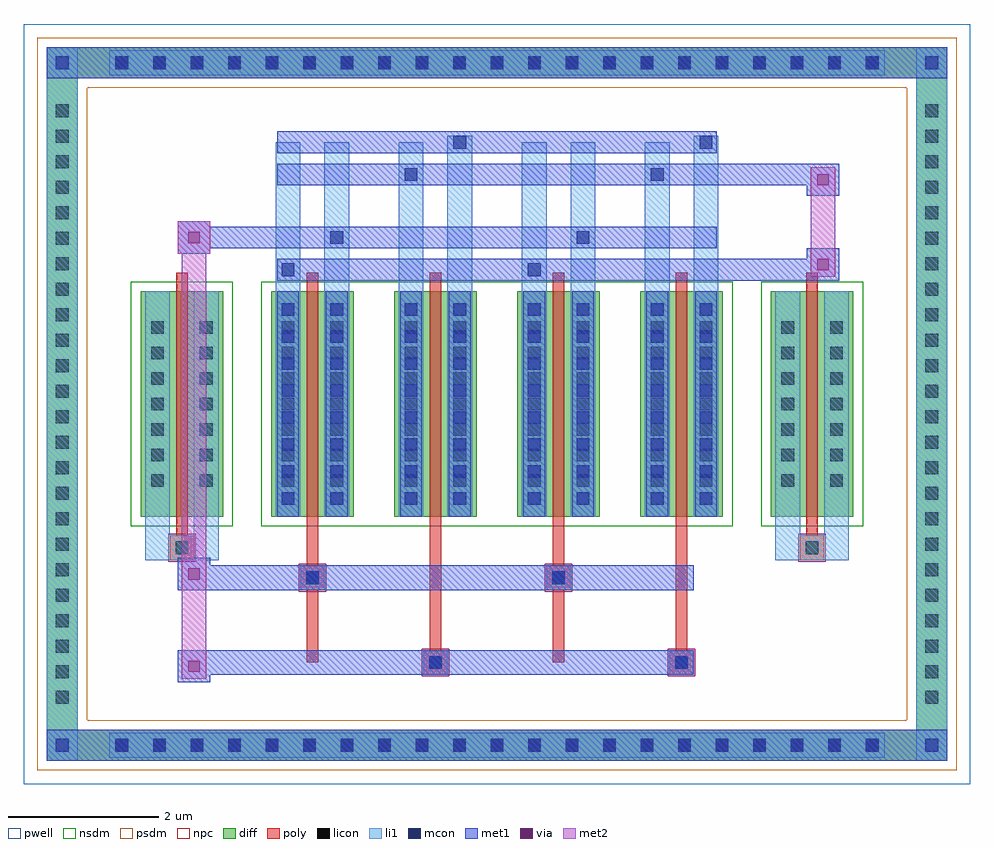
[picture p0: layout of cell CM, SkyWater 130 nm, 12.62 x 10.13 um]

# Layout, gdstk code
import gdstk
lib = gdstk.Library(unit=1e-6, precision=5e-09)
def R(c, l, rs):  # rectangles x0, y0, x1, y1
    for r in rs: c.add(gdstk.rectangle(r[:2], r[2:], *l))
def A(c, l, x, y, w, h, nx, ny, dx, dy):  # array of equal rectangles
    R(c, l, [(x+i*dx, y+j*dy, x+i*dx+w, y+j*dy+h) for i in range(nx) for j in range(ny)])
def P(c, l, *ps):  # polygons
    for p in ps: c.add(gdstk.Polygon(p, *l))
pwell = (64, 44)
diff = (65, 20)
poly = (66, 20)
licon = (66, 44)
li1 = (67, 20)
mcon = (67, 44)
met1 = (68, 20)
via = (68, 44)
met2 = (69, 20)
nsdm = (93, 44)
psdm = (94, 20)
npc = (95, 20)

c_route_ad68226f = lib.new_cell('c_route_ad68226f')
R(c_route_ad68226f, met1, [(2.93,1.645,4.56,1.935), (4.13,1.645,4.56,2.075), (4.13,2.775,4.56,3.205), (2.93,2.915,4.56,3.205)])
R(c_route_ad68226f, via, [(4.27,1.785,4.42,1.935), (4.27,2.915,4.42,3.065)])
R(c_route_ad68226f, met2, [(4.18,1.695,4.51,2.025), (4.18,1.695,4.51,3.155), (4.18,2.825,4.51,3.155)])
P(c_route_ad68226f, met2, [(4.51,1.695),(4.51,1.695),(4.51,2.025),(4.51,2.025)],
  [(4.51,2.825),(4.51,2.825),(4.51,3.155),(4.51,3.155)])

c_route_e43691ac = lib.new_cell('c_route_e43691ac')
R(c_route_e43691ac, met1, [(-4.255,-3.71,-3.825,-3.28), (-4.255,-3.61,-2.625,-3.28), (-4.255,-2.48,-2.625,-2.15), (-4.255,-2.48,-3.825,-2.05)])
R(c_route_e43691ac, via, [(-4.115,-3.57,-3.965,-3.42), (-4.115,-2.34,-3.965,-2.19)])
R(c_route_e43691ac, met2, [(-4.205,-3.66,-3.875,-3.33), (-4.205,-3.66,-3.875,-2.1), (-4.205,-2.43,-3.875,-2.1)])
P(c_route_e43691ac, met2, [(-3.875,-3.66),(-3.875,-3.66),(-3.875,-3.33),(-3.875,-3.33)],
  [(-3.875,-2.43),(-3.875,-2.43),(-3.875,-2.1),(-3.875,-2.1)])

l_route_bcd6674b = lib.new_cell('L_route_bcd6674b')
R(l_route_bcd6674b, met1, [(-4.255,2.005,-3.825,2.435), (-4.205,2.075,-2.93,2.365)])
R(l_route_bcd6674b, via, [(-4.115,2.145,-3.965,2.295)])
R(l_route_bcd6674b, met2, [(-4.205,-2.1,-3.875,2.365), (-4.255,2.005,-3.825,2.435), (-4.205,2.055,-3.875,2.385)])

transformed_a1eb0348 = lib.new_cell('transformed_a1eb0348')
R(transformed_a1eb0348, pwell, [(-5.06,-3.81,5.06,3.815)])
A(transformed_a1eb0348, diff, -3.01, -1.5, 1.1, 3, 4, 1, 1.64, 0)
R(transformed_a1eb0348, diff, [(-4.75,-1.5,-3.65,1.5), (3.65,-1.5,4.75,1.5)])
A(transformed_a1eb0348, poly, -2.535, -1.75, 0.15, 3.5, 4, 1, 1.64, 0)
R(transformed_a1eb0348, poly, [(-0.985,-3.61,-0.655,-3.28), (-0.985,-3.61,-0.655,-3.28), (2.295,-3.61,2.625,-3.28), (2.295,-3.61,2.625,-3.28), (-2.535,-3.445,-2.385,-1.75), (0.745,-3.445,0.895,-1.75), (-0.895,-3.28,-0.745,-1.75), (2.385,-3.28,2.535,-1.75), (-2.625,-2.48,-2.295,-2.15), (-2.625,-2.48,-2.295,-2.15), (0.655,-2.48,0.985,-2.15), (0.655,-2.48,0.985,-2.15), (-2.535,-2.15,-2.385,-1.75), (0.745,-2.15,0.895,-1.75), (-4.365,-2.08,-4.035,-1.75), (-4.365,-2.08,-4.035,-1.75), (4.035,-2.08,4.365,-1.75), (4.035,-2.08,4.365,-1.75), (-4.275,-1.75,-4.125,1.75), (4.125,-1.75,4.275,1.75)])
A(transformed_a1eb0348, licon, -4.61, -1.105, 0.17, 0.17, 1, 7, 0, 0.34)
A(transformed_a1eb0348, licon, -3.96, -1.105, 0.17, 0.17, 1, 7, 0, 0.34)
A(transformed_a1eb0348, licon, -2.87, -1.105, 0.17, 0.17, 1, 7, 0, 0.34)
A(transformed_a1eb0348, licon, -2.22, -1.105, 0.17, 0.17, 1, 7, 0, 0.34)
A(transformed_a1eb0348, licon, -1.23, -1.105, 0.17, 0.17, 1, 7, 0, 0.34)
A(transformed_a1eb0348, licon, -0.58, -1.105, 0.17, 0.17, 1, 7, 0, 0.34)
A(transformed_a1eb0348, licon, 0.41, -1.105, 0.17, 0.17, 1, 7, 0, 0.34)
A(transformed_a1eb0348, licon, 1.06, -1.105, 0.17, 0.17, 1, 7, 0, 0.34)
A(transformed_a1eb0348, licon, 2.05, -1.105, 0.17, 0.17, 1, 7, 0, 0.34)
A(transformed_a1eb0348, licon, 2.7, -1.105, 0.17, 0.17, 1, 7, 0, 0.34)
A(transformed_a1eb0348, licon, 3.79, -1.105, 0.17, 0.17, 1, 7, 0, 0.34)
A(transformed_a1eb0348, licon, 4.44, -1.105, 0.17, 0.17, 1, 7, 0, 0.34)
R(transformed_a1eb0348, licon, [(-0.905,-3.53,-0.735,-3.36), (2.375,-3.53,2.545,-3.36), (-2.545,-2.4,-2.375,-2.23), (0.735,-2.4,0.905,-2.23), (-4.285,-2,-4.115,-1.83), (4.115,-2,4.285,-1.83)])
A(transformed_a1eb0348, li1, -2.87, -1.345, 0.17, 0.17, 1, 8, 0, 0.36)
A(transformed_a1eb0348, li1, -2.22, -1.345, 0.17, 0.17, 1, 8, 0, 0.36)
A(transformed_a1eb0348, li1, -1.23, -1.345, 0.17, 0.17, 1, 8, 0, 0.36)
A(transformed_a1eb0348, li1, -0.58, -1.345, 0.17, 0.17, 1, 8, 0, 0.36)
A(transformed_a1eb0348, li1, 0.41, -1.345, 0.17, 0.17, 1, 8, 0, 0.36)
A(transformed_a1eb0348, li1, 1.06, -1.345, 0.17, 0.17, 1, 8, 0, 0.36)
A(transformed_a1eb0348, li1, 2.05, -1.345, 0.17, 0.17, 1, 8, 0, 0.36)
A(transformed_a1eb0348, li1, 2.7, -1.345, 0.17, 0.17, 1, 8, 0, 0.36)
A(transformed_a1eb0348, li1, -4.69, -1.185, 0.33, 0.33, 1, 7, 0, 0.34)
A(transformed_a1eb0348, li1, -4.04, -1.185, 0.33, 0.33, 1, 7, 0, 0.34)
A(transformed_a1eb0348, li1, -2.95, -1.185, 0.33, 0.33, 1, 7, 0, 0.34)
A(transformed_a1eb0348, li1, -2.3, -1.185, 0.33, 0.33, 1, 7, 0, 0.34)
A(transformed_a1eb0348, li1, -1.31, -1.185, 0.33, 0.33, 1, 7, 0, 0.34)
A(transformed_a1eb0348, li1, -0.66, -1.185, 0.33, 0.33, 1, 7, 0, 0.34)
A(transformed_a1eb0348, li1, 0.33, -1.185, 0.33, 0.33, 1, 7, 0, 0.34)
A(transformed_a1eb0348, li1, 0.98, -1.185, 0.33, 0.33, 1, 7, 0, 0.34)
A(transformed_a1eb0348, li1, 1.97, -1.185, 0.33, 0.33, 1, 7, 0, 0.34)
A(transformed_a1eb0348, li1, 2.62, -1.185, 0.33, 0.33, 1, 7, 0, 0.34)
A(transformed_a1eb0348, li1, 3.71, -1.185, 0.33, 0.33, 1, 7, 0, 0.34)
A(transformed_a1eb0348, li1, 4.36, -1.185, 0.33, 0.33, 1, 7, 0, 0.34)
R(transformed_a1eb0348, li1, [(-0.985,-3.61,-0.655,-3.28), (2.295,-3.61,2.625,-3.28), (-2.625,-2.48,-2.295,-2.15), (0.655,-2.48,0.985,-2.15), (-4.69,-2.08,-4.365,-1.75), (-4.69,-2.08,-4.36,-1.5), (-4.365,-2.08,-4.035,-1.75), (-4.04,-2.08,-3.71,-1.5), (-4.035,-2.08,-3.71,-1.75), (3.71,-2.08,4.035,-1.75), (3.71,-2.08,4.04,-1.5), (4.035,-2.08,4.365,-1.75), (4.36,-2.08,4.69,-1.5), (4.365,-2.08,4.69,-1.75), (-4.69,-1.5,-4.36,1.5), (-4.04,-1.5,-3.71,1.5), (-2.95,-1.5,-2.62,1.5), (-2.3,-1.5,-1.97,1.5), (-1.31,-1.5,-0.98,1.5), (-0.66,-1.5,-0.33,1.5), (0.33,-1.5,0.66,1.5), (0.98,-1.5,1.31,1.5), (1.97,-1.5,2.3,1.5), (2.62,-1.5,2.95,1.5), (3.71,-1.5,4.04,1.5), (4.36,-1.5,4.69,1.5), (-2.87,-1.345,-2.7,1.345), (-2.22,-1.345,-2.05,1.345), (-1.23,-1.345,-1.06,1.345), (-0.58,-1.345,-0.41,1.345), (0.41,-1.345,0.58,1.345), (1.06,-1.345,1.23,1.345), (2.05,-1.345,2.22,1.345), (2.7,-1.345,2.87,1.345), (-2.95,1.5,-2.62,1.875), (-2.95,1.5,-2.62,3.49), (-2.3,1.5,-1.97,2.305), (-2.3,1.5,-1.97,3.49), (-1.31,1.5,-0.98,3.145), (-1.31,1.5,-0.98,3.49), (-0.66,1.5,-0.33,3.575), (-0.66,1.5,-0.33,3.49), (0.33,1.5,0.66,1.875), (0.33,1.5,0.66,3.49), (0.98,1.5,1.31,2.305), (0.98,1.5,1.31,3.49), (1.97,1.5,2.3,3.145), (1.97,1.5,2.3,3.49), (2.62,1.5,2.95,3.575), (2.62,1.5,2.95,3.49), (-2.87,1.705,-2.7,1.875), (0.41,1.705,0.58,1.875), (-2.22,2.135,-2.05,2.305), (1.06,2.135,1.23,2.305), (-1.23,2.975,-1.06,3.145), (2.05,2.975,2.22,3.145), (-0.58,3.405,-0.41,3.575), (2.7,3.405,2.87,3.575)])
A(transformed_a1eb0348, mcon, -2.87, -1.345, 0.17, 0.17, 1, 8, 0, 0.36)
A(transformed_a1eb0348, mcon, -2.22, -1.345, 0.17, 0.17, 1, 8, 0, 0.36)
A(transformed_a1eb0348, mcon, -1.23, -1.345, 0.17, 0.17, 1, 8, 0, 0.36)
A(transformed_a1eb0348, mcon, -0.58, -1.345, 0.17, 0.17, 1, 8, 0, 0.36)
A(transformed_a1eb0348, mcon, 0.41, -1.345, 0.17, 0.17, 1, 8, 0, 0.36)
A(transformed_a1eb0348, mcon, 1.06, -1.345, 0.17, 0.17, 1, 8, 0, 0.36)
A(transformed_a1eb0348, mcon, 2.05, -1.345, 0.17, 0.17, 1, 8, 0, 0.36)
A(transformed_a1eb0348, mcon, 2.7, -1.345, 0.17, 0.17, 1, 8, 0, 0.36)
R(transformed_a1eb0348, mcon, [(-0.905,-3.53,-0.735,-3.36), (2.375,-3.53,2.545,-3.36), (-2.545,-2.4,-2.375,-2.23), (0.735,-2.4,0.905,-2.23), (-2.87,1.705,-2.7,1.875), (0.41,1.705,0.58,1.875), (-2.22,2.135,-2.05,2.305), (1.06,2.135,1.23,2.305), (-1.23,2.975,-1.06,3.145), (2.05,2.975,2.22,3.145), (-0.58,3.405,-0.41,3.575), (2.7,3.405,2.87,3.575)])
A(transformed_a1eb0348, met1, -2.93, -1.405, 0.29, 0.29, 1, 8, 0, 0.36)
A(transformed_a1eb0348, met1, -2.28, -1.405, 0.29, 0.29, 1, 8, 0, 0.36)
A(transformed_a1eb0348, met1, -1.29, -1.405, 0.29, 0.29, 1, 8, 0, 0.36)
A(transformed_a1eb0348, met1, -0.64, -1.405, 0.29, 0.29, 1, 8, 0, 0.36)
A(transformed_a1eb0348, met1, 0.35, -1.405, 0.29, 0.29, 1, 8, 0, 0.36)
A(transformed_a1eb0348, met1, 1, -1.405, 0.29, 0.29, 1, 8, 0, 0.36)
A(transformed_a1eb0348, met1, 1.99, -1.405, 0.29, 0.29, 1, 8, 0, 0.36)
A(transformed_a1eb0348, met1, 2.64, -1.405, 0.29, 0.29, 1, 8, 0, 0.36)
R(transformed_a1eb0348, met1, [(-2.625,-3.61,2.625,-3.28), (-0.985,-3.61,-0.655,-3.28), (2.295,-3.61,2.625,-3.28), (-0.965,-3.59,-0.675,-3.3), (2.315,-3.59,2.605,-3.3), (-2.625,-2.48,-2.295,-2.15), (-2.625,-2.48,2.625,-2.15), (0.655,-2.48,0.985,-2.15), (-2.605,-2.46,-2.315,-2.17), (0.675,-2.46,0.965,-2.17), (-2.93,-1.5,-2.64,1.5), (-2.28,-1.5,-1.99,1.5), (-1.29,-1.5,-1,1.5), (-0.64,-1.5,-0.35,1.5), (0.35,-1.5,0.64,1.5), (1,-1.5,1.29,1.5), (1.99,-1.5,2.28,1.5), (2.64,-1.5,2.93,1.5), (-2.93,1.645,-2.64,1.935), (-2.93,1.645,-1.99,1.935), (-2.93,1.645,2.93,1.935), (0.35,1.645,0.64,1.935), (0.35,1.645,1.29,1.935), (-2.93,2.075,-1.99,2.365), (-2.93,2.075,2.93,2.365), (-2.28,2.075,-1.99,2.365), (0.35,2.075,1.29,2.365), (1,2.075,1.29,2.365), (-2.93,2.915,2.93,3.205), (-1.29,2.915,-1,3.205), (-1.29,2.915,-0.35,3.205), (1.99,2.915,2.28,3.205), (1.99,2.915,2.93,3.205), (-2.93,3.345,2.93,3.635), (-1.29,3.345,-0.35,3.635), (-0.64,3.345,-0.35,3.635), (1.99,3.345,2.93,3.635), (2.64,3.345,2.93,3.635)])
A(transformed_a1eb0348, nsdm, -3.14, -1.63, 1.36, 3.26, 4, 1, 1.64, 0)
R(transformed_a1eb0348, nsdm, [(-4.88,-1.63,-3.52,1.63), (-3.14,-1.63,3.14,1.63), (3.52,-1.63,4.88,1.63)])
R(transformed_a1eb0348, npc, [(-1.005,-3.63,-0.635,-3.26), (-1.005,-3.63,-0.635,-3.26), (2.275,-3.63,2.645,-3.26), (-2.645,-2.5,-2.275,-2.13), (0.635,-2.5,1.005,-2.13), (0.635,-2.5,1.005,-2.13), (-4.385,-2.1,-4.015,-1.73), (4.015,-2.1,4.385,-1.73)])
transformed_a1eb0348.add(gdstk.Reference(c_route_ad68226f, (0,0)))
transformed_a1eb0348.add(gdstk.Reference(c_route_e43691ac, (0,0)))
transformed_a1eb0348.add(gdstk.Reference(l_route_bcd6674b, (0,0)))

unnamed_97d8bbda_1 = lib.new_cell('Unnamed_97d8bbda$1')
A(unnamed_97d8bbda_1, diff, -5.205, -4.755, 0.41, 0.41, 21, 2, 0.5, 9.1)
A(unnamed_97d8bbda_1, diff, -6, -4.115, 0.41, 0.41, 1, 24, 0, 0.34)
A(unnamed_97d8bbda_1, diff, 5.59, -4.115, 0.41, 0.41, 1, 24, 0, 0.34)
R(unnamed_97d8bbda_1, diff, [(-5.205,-4.755,5.205,-4.345), (-6,-4.115,-5.59,4.115), (5.59,-4.115,6,4.115), (-5.205,4.345,5.205,4.755)])
P(unnamed_97d8bbda_1, diff, [(6,4.755),(-6,4.755),(-6,-4.345),(-5.59,-4.345),(-5.59,4.345),(5.59,4.345),(5.59,-4.345),(-5.59,-4.345),(-6,-4.345),(-6,-4.755),(6,-4.755)])
A(unnamed_97d8bbda_1, licon, -5.085, -4.635, 0.17, 0.17, 21, 2, 0.5, 9.1)
A(unnamed_97d8bbda_1, licon, -5.88, -3.995, 0.17, 0.17, 1, 24, 0, 0.34)
A(unnamed_97d8bbda_1, licon, 5.71, -3.995, 0.17, 0.17, 1, 24, 0, 0.34)
A(unnamed_97d8bbda_1, li1, -5.165, -4.715, 0.33, 0.33, 21, 2, 0.5, 9.1)
A(unnamed_97d8bbda_1, li1, -5.96, -4.075, 0.33, 0.33, 1, 24, 0, 0.34)
A(unnamed_97d8bbda_1, li1, 5.63, -4.075, 0.33, 0.33, 1, 24, 0, 0.34)
R(unnamed_97d8bbda_1, li1, [(-6,-4.755,-5.59,-4.345), (5.59,-4.755,6,-4.345), (-5.165,-4.715,5.165,-4.385), (-5.88,-4.635,-5.71,-4.465), (-5.88,-4.635,-5.71,-4.465), (5.71,-4.635,5.88,-4.465), (5.71,-4.635,5.88,-4.465), (-6,-4.345,-5.59,4.345), (5.59,-4.345,6,4.345), (-6,4.345,-5.59,4.755), (5.59,4.345,6,4.755), (-5.165,4.385,5.165,4.715), (-5.88,4.465,-5.71,4.635), (-5.88,4.465,-5.71,4.635), (5.71,4.465,5.88,4.635), (5.71,4.465,5.88,4.635)])
A(unnamed_97d8bbda_1, mcon, -5.085, -4.635, 0.17, 0.17, 21, 2, 0.5, 9.1)
R(unnamed_97d8bbda_1, mcon, [(-5.88,-4.635,-5.71,-4.465), (5.71,-4.635,5.88,-4.465), (-5.88,4.465,-5.71,4.635), (5.71,4.465,5.88,4.635)])
A(unnamed_97d8bbda_1, met1, -5.145, -4.695, 0.29, 0.29, 21, 2, 0.5, 9.1)
R(unnamed_97d8bbda_1, met1, [(-6,-4.755,-5.59,-4.345), (-6,-4.755,-5.59,-4.345), (-5.59,-4.755,5.59,-4.345), (5.59,-4.755,6,-4.345), (5.59,-4.755,6,-4.345), (-5.94,-4.695,-5.65,-4.405), (5.65,-4.695,5.94,-4.405), (-6,4.345,-5.59,4.755), (-6,4.345,-5.59,4.755), (-5.59,4.345,5.59,4.755), (5.59,4.345,6,4.755), (5.59,4.345,6,4.755), (-5.94,4.405,-5.65,4.695), (5.65,4.405,5.94,4.695)])
P(unnamed_97d8bbda_1, psdm, [(6.13,4.885),(-6.13,4.885),(-6.13,-4.215),(-5.46,-4.215),(-5.46,4.215),(5.46,4.215),(5.46,-4.215),(-5.46,-4.215),(-6.13,-4.215),(-6.13,-4.885),(6.13,-4.885)])

c_cm = lib.new_cell('CM')
R(c_cm, pwell, [(-6.31,-5.065,6.31,5.065)])
c_cm.add(gdstk.Reference(transformed_a1eb0348, (0,0)))
c_cm.add(gdstk.Reference(unnamed_97d8bbda_1, (0,0)))

lib.write_gds('CM.gds')
